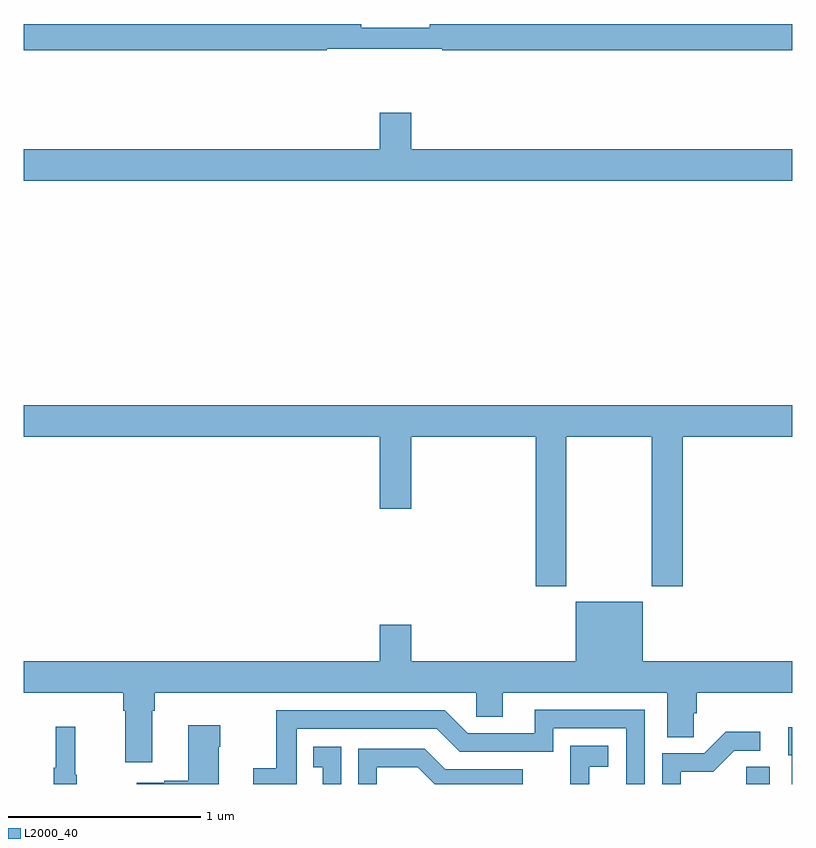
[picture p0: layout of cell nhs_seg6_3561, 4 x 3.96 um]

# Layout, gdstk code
import gdstk
lib = gdstk.Library(unit=1e-6, precision=1e-09)
def R(c, l, rs):  # rectangles x0, y0, x1, y1
    for r in rs: c.add(gdstk.rectangle(r[:2], r[2:], *l))
def P(c, l, *ps):  # polygons
    for p in ps: c.add(gdstk.Polygon(p, *l))
L2000_40 = (2000, 40)

nhs_seg6_3561 = lib.new_cell('nhs_seg6_3561')
R(nhs_seg6_3561, L2000_40, [(322.761,973.5,322.882,973.589)])
P(nhs_seg6_3561, L2000_40, [(320.578,977.328),(321.178,977.328),(321.178,977.32),(323,977.32),(323,977.456),(321.112,977.456),(321.112,977.437),(320.756,977.437),(320.756,977.456),(319,977.456),(319,977.32),(320.578,977.32)],
  [(323,976.804),(321.016,976.804),(321.016,976.993),(320.852,976.993),(320.852,976.804),(319,976.804),(319,976.64),(323,976.64)],
  [(321.825,975.308),(322.27,975.308),(322.27,974.529),(322.43,974.529),(322.43,975.308),(323,975.308),(323,975.472),(319,975.472),(319,975.308),(320.852,975.308),(320.852,974.934),(321.016,974.934),(321.016,975.308),(321.665,975.308),(321.665,974.529),(321.825,974.529)],
  [(319.669,973.88),(319.682,973.88),(319.682,973.976),(321.354,973.976),(321.354,973.849),(321.493,973.849),(321.493,973.976),(322.349,973.976),(322.349,973.744),(322.488,973.744),(322.488,973.867),(322.502,973.867),(322.502,973.976),(323,973.976),(323,974.14),(322.222,974.14),(322.222,974.449),(321.872,974.449),(321.872,974.14),(321.016,974.14),(321.016,974.329),(320.852,974.329),(320.852,974.14),(319,974.14),(319,973.976),(319.517,973.976),(319.517,973.88),(319.529,973.88),(319.529,973.614),(319.669,973.614)],
  [(320.421,973.788),(321.15,973.788),(321.27,973.668),(321.756,973.668),(321.756,973.791),(322.137,973.791),(322.137,973.5),(322.233,973.5),(322.233,973.887),(321.659,973.887),(321.659,973.764),(321.312,973.764),(321.192,973.884),(320.313,973.884),(320.313,973.582),(320.195,973.582),(320.195,973.5),(320.421,973.5)],
  [(320.014,973.694),(320.022,973.694),(320.022,973.807),(319.856,973.807),(319.856,973.517),(319.73,973.517),(319.73,973.507),(319.587,973.507),(319.587,973.5),(320.014,973.5)],
  [(319.276,973.548),(319.268,973.548),(319.268,973.798),(319.166,973.798),(319.166,973.585),(319.155,973.585),(319.155,973.5),(319.276,973.5)],
  [(323,973.795),(322.979,973.795),(322.979,973.65),(322.998,973.65),(322.998,973.5),(323,973.5)],
  [(322.419,973.563),(322.588,973.563),(322.699,973.674),(322.834,973.674),(322.834,973.772),(322.655,973.772),(322.542,973.659),(322.323,973.659),(322.323,973.5),(322.419,973.5)],
  [(321.944,973.589),(322.042,973.589),(322.042,973.699),(321.844,973.699),(321.844,973.5),(321.944,973.5)],
  [(320.652,973.693),(320.506,973.693),(320.506,973.587),(320.555,973.587),(320.555,973.5),(320.652,973.5)],
  [(320.838,973.586),(321.052,973.586),(321.138,973.5),(321.597,973.5),(321.597,973.578),(321.193,973.578),(321.088,973.683),(320.742,973.683),(320.742,973.5),(320.838,973.5)])

lib.write_gds('nhs_seg6_3561.gds')
